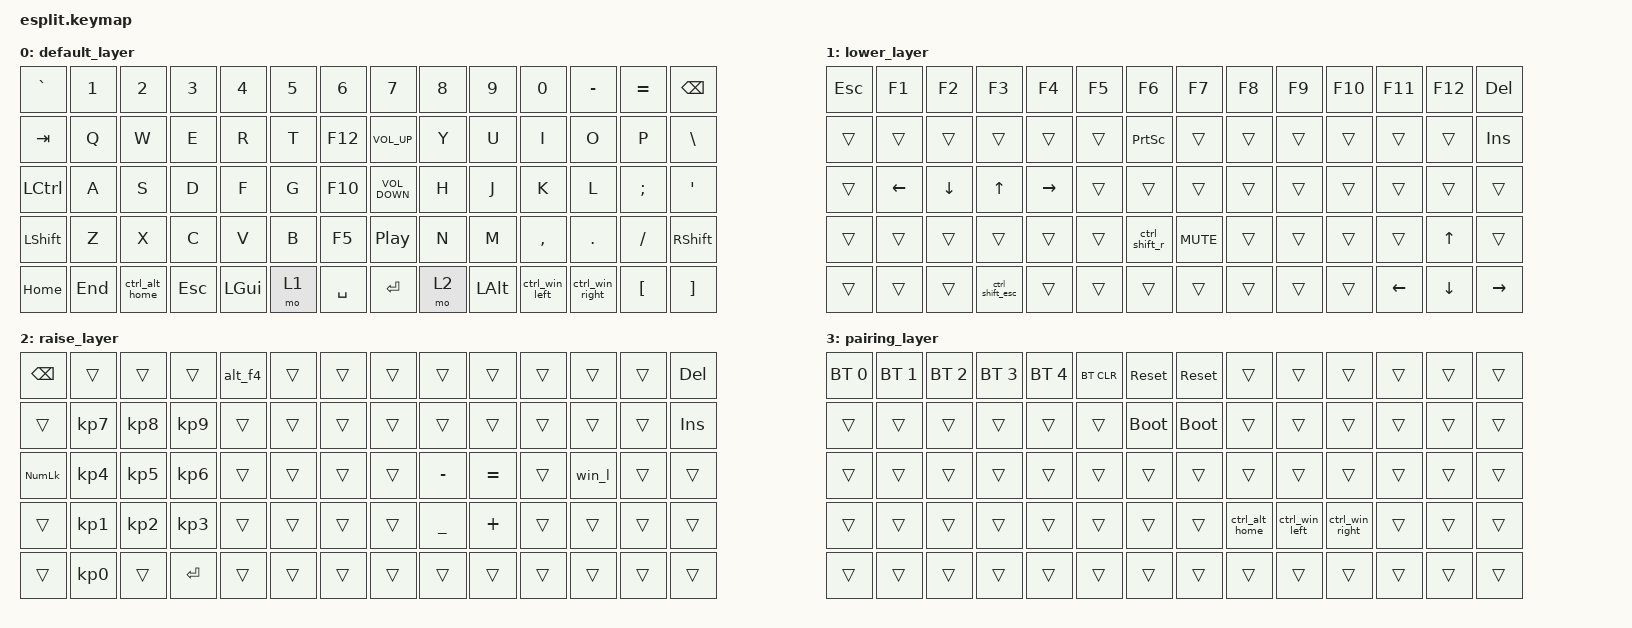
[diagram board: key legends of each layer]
#include <behaviors.dtsi>
#include <dt-bindings/zmk/keys.h>
#include <dt-bindings/zmk/bt.h>

/ {
    macros {
      ctrl_alt_home: ctrl_alt_home {
        compatible = "zmk,behavior-macro";
        #binding-cells = <0>;
        bindings = <&macro_press &kp LCTRL &kp LALT>,
                   <&macro_tap &kp HOME>,
                   <&macro_release &kp LCTRL &kp LALT>;
      };
      ctrl_win_left: ctrl_win_left {
        compatible = "zmk,behavior-macro";
        #binding-cells = <0>;
        bindings = <&macro_press &kp LCTRL &kp LGUI>,
                   <&macro_tap &kp LEFT>,
                   <&macro_release &kp LCTRL &kp LGUI>;
      };
      ctrl_win_right: ctrl_win_right {
        compatible = "zmk,behavior-macro";
        #binding-cells = <0>;
        bindings = <&macro_press &kp LCTRL &kp LGUI>,
                   <&macro_tap &kp RIGHT>,
                   <&macro_release &kp LCTRL &kp LGUI>;
      };
      ctrl_shift_esc: ctrl_shift_esc {
        compatible = "zmk,behavior-macro";
        #binding-cells = <0>;
        bindings = <&macro_press &kp LCTRL &kp LSHIFT>,
                   <&macro_tap &kp ESC>,
                   <&macro_release &kp LCTRL &kp LSHIFT>;
      };
      alt_f4: alt_f4 {
        compatible = "zmk,behavior-macro";
        #binding-cells = <0>;
        bindings = <&macro_press &kp LALT>,
                   <&macro_tap &kp F4>,
                   <&macro_release &kp LALT>;
      };
      ctrl_shift_r: ctrl_shift_r {
        compatible = "zmk,behavior-macro";
        #binding-cells = <0>;
        bindings = <&macro_press &kp LCTRL &kp LSHIFT>,
                   <&macro_tap &kp R>,
                   <&macro_release &kp LCTRL &kp LSHIFT>;
      };
      win_l: win_l {
        compatible = "zmk,behavior-macro";
        #binding-cells = <0>;
        bindings = <&macro_press &kp LGUI>,
                   <&macro_tap &kp L>,
                   <&macro_release &kp LGUI>;
      };
  };
};

/ {
  conditional_layers {
    compatible = "zmk,conditional-layers";
    tri_layer {
      if-layers = <1 2>;
      then-layer = <3>;
    };
  };
};

/ {
  keymap {
    compatible = "zmk,keymap";
    default_layer {
      bindings = <
        &kp GRAVE         &kp N1          &kp N2          &kp N3          &kp N4          &kp N5          &kp N6                    &kp N7               &kp N8          &kp N9          &kp N0          &kp MINUS         &kp EQUAL        &kp BACKSPACE
        &kp TAB           &kp Q           &kp W           &kp E           &kp R           &kp T           &kp F12                   &kp C_VOLUME_UP      &kp Y           &kp U           &kp I           &kp O             &kp P            &kp BSLH
        &kp LCTRL         &kp A           &kp S           &kp D           &kp F           &kp G           &kp F10                   &kp C_VOLUME_DOWN    &kp H           &kp J           &kp K           &kp L             &kp SEMI         &kp SQT
        &kp LSHIFT        &kp Z           &kp X           &kp C           &kp V           &kp B           &kp F5                    &kp C_PP             &kp N           &kp M           &kp COMMA       &kp DOT           &kp FSLH         &kp RSHIFT
        &kp HOME          &kp END         &ctrl_alt_home  &kp ESC         &kp LGUI        &mo 1           &kp SPACE                 &kp ENTER            &mo 2           &kp LALT        &ctrl_win_left  &ctrl_win_right   &kp LBKT         &kp RBKT
      >;
    };
    lower_layer {
      bindings = <
        &kp ESC          &kp F1           &kp F2          &kp F3          &kp F4          &kp F5          &kp F6                    &kp F7               &kp F8          &kp F9          &kp F10         &kp F11           &kp F12          &kp DEL
        &trans           &trans           &trans          &trans          &trans          &trans          &kp PSCRN                 &trans               &trans          &trans          &trans          &trans            &trans           &kp INS
        &trans           &kp LEFT         &kp DOWN        &kp UP          &kp RIGHT       &trans          &trans                    &trans               &trans          &trans          &trans          &trans            &trans           &trans
        &trans           &trans           &trans          &trans          &trans          &trans          &ctrl_shift_r             &kp C_MUTE           &trans          &trans          &trans          &trans            &kp UP           &trans
        &trans           &trans           &trans          &ctrl_shift_esc &trans          &trans          &trans                    &trans               &trans          &trans          &trans          &kp LEFT          &kp DOWN         &kp RIGHT
      >;
    };
    raise_layer {
      bindings = <
        &kp BACKSPACE    &trans           &trans          &trans          &alt_f4         &trans          &trans                    &trans               &trans          &trans          &trans          &trans            &trans           &kp DEL
        &trans           &kp KP_N7        &kp KP_N8       &kp KP_N9       &trans          &trans          &trans                    &trans               &trans          &trans          &trans          &trans            &trans           &kp INS
        &kp KP_NUM       &kp KP_N4        &kp KP_N5       &kp KP_N6       &trans          &trans          &trans                    &trans               &kp MINUS       &kp EQUAL       &trans          &win_l            &trans           &trans
        &trans           &kp KP_N1        &kp KP_N2       &kp KP_N3       &trans          &trans          &trans                    &trans               &kp UNDER       &kp PLUS        &trans          &trans            &trans           &trans
        &trans           &kp KP_N0        &trans          &kp ENTER       &trans          &trans          &trans                    &trans               &trans          &trans          &trans          &trans            &trans           &trans
      >;
    };
    pairing_layer {
      bindings = <
        &bt BT_SEL 0     &bt BT_SEL 1     &bt BT_SEL 2    &bt BT_SEL 3    &bt BT_SEL 4    &bt BT_CLR      &sys_reset                &sys_reset           &trans          &trans          &trans          &trans            &trans           &trans
        &trans           &trans           &trans          &trans          &trans          &trans          &bootloader               &bootloader          &trans          &trans          &trans          &trans            &trans           &trans
        &trans           &trans           &trans          &trans          &trans          &trans          &trans                    &trans               &trans          &trans          &trans          &trans            &trans           &trans
        &trans           &trans           &trans          &trans          &trans          &trans          &trans                    &trans               &ctrl_alt_home  &ctrl_win_left  &ctrl_win_right &trans            &trans           &trans
        &trans           &trans           &trans          &trans          &trans          &trans          &trans                    &trans               &trans          &trans          &trans          &trans            &trans           &trans
      >;
    };
  };
};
